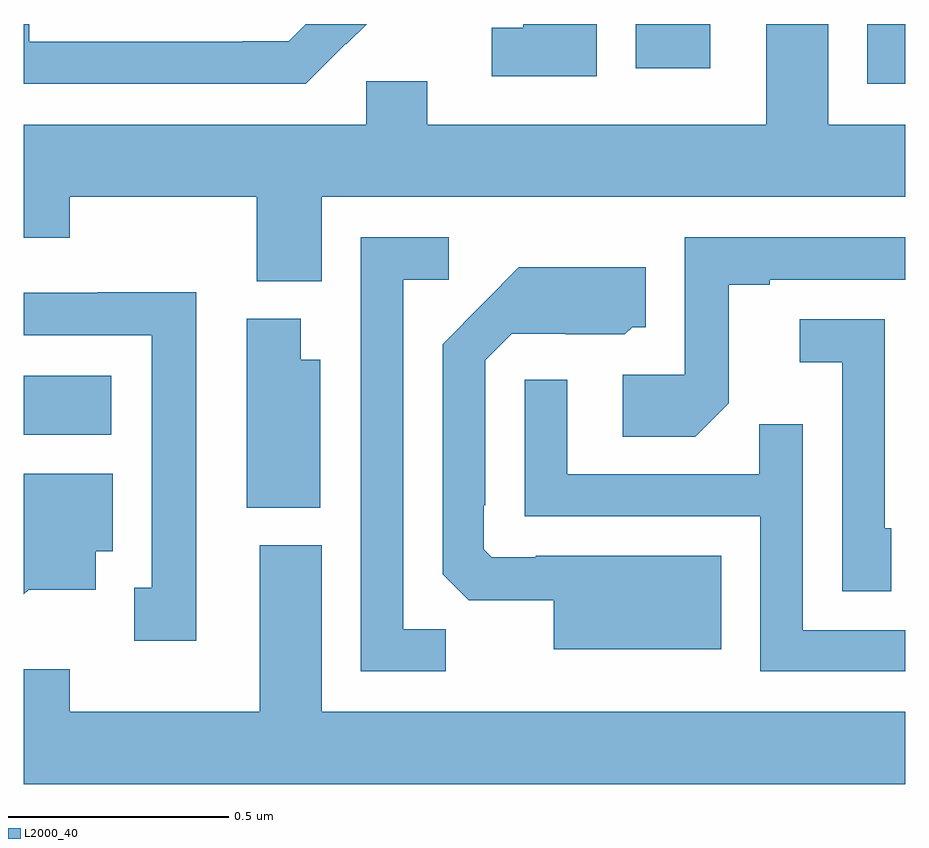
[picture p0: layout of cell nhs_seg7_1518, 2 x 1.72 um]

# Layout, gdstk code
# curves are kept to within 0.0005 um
import gdstk
lib = gdstk.Library(unit=1e-6, precision=1e-09)
def R(c, l, rs):  # rectangles x0, y0, x1, y1
    for r in rs: c.add(gdstk.rectangle(r[:2], r[2:], *l))
def P(c, l, *ps):  # polygons
    for p in ps: c.add(gdstk.Polygon(p, *l))
L2000_40 = (2000, 40)

nhs_seg7_1518 = lib.new_cell('nhs_seg7_1518')
R(nhs_seg7_1518, L2000_40, [(132,1008.068,132.199,1008.202), (133.914,1008.864,134,1009), (133.389,1008.9,133.558,1009)])
P(nhs_seg7_1518, L2000_40, [(133.3,1009),(133.133,1009),(133.133,1008.991),(133.062,1008.991),(133.062,1008.882),(133.3,1008.882)],
  [(132.731,1008.955),(132.732,1008.954),(132.778,1009),(132.64,1009),(132.601,1008.961),(132.497,1008.961),(132.497,1008.96),(132.013,1008.96),(132.013,1009),(132,1009),(132,1008.864),(132.64,1008.864)],
  [(132,1008.515),(132.105,1008.515),(132.105,1008.608),(132.529,1008.608),(132.529,1008.416),(132.676,1008.416),(132.676,1008.608),(134,1008.608),(134,1008.772),(133.825,1008.772),(133.825,1009),(133.685,1009),(133.685,1008.772),(132.916,1008.772),(132.916,1008.87),(132.777,1008.87),(132.777,1008.772),(132,1008.772)],
  [(132.957,1007.627),(132.861,1007.627),(132.861,1008.42),(132.964,1008.42),(132.964,1008.516),(132.765,1008.516),(132.765,1007.532),(132.957,1007.532)],
  [(133.599,1008.14),(133.599,1008.408),(133.693,1008.408),(133.693,1008.42),(134,1008.42),(134,1008.516),(133.5,1008.516),(133.5,1008.204),(133.359,1008.204),(133.359,1008.064),(133.523,1008.064)],
  [(133.582,1007.794),(133.162,1007.794),(133.162,1007.79),(133.062,1007.79),(133.044,1007.808),(133.044,1007.908),(133.047,1007.908),(133.047,1008.237),(133.107,1008.297),(133.23,1008.297),(133.23,1008.296),(133.364,1008.296),(133.38,1008.312),(133.411,1008.312),(133.411,1008.448),(133.123,1008.448),(132.951,1008.274),(132.951,1007.752),(133.01,1007.693),(133.202,1007.693),(133.202,1007.582),(133.582,1007.582)],
  [(132.391,1008.392),(132.168,1008.392),(132.168,1008.39),(132,1008.39),(132,1008.294),(132.29,1008.294),(132.29,1007.721),(132.251,1007.721),(132.251,1007.601),(132.391,1007.601)],
  [(132.673,1008.238),(132.628,1008.238),(132.628,1008.331),(132.506,1008.331),(132.506,1007.903),(132.673,1007.903)],
  [(133.968,1007.856),(133.953,1007.856),(133.953,1008.33),(133.761,1008.33),(133.761,1008.233),(133.857,1008.233),(133.857,1007.713),(133.968,1007.713)],
  [(134,1007.625),(133.767,1007.625),(133.767,1008.092),(133.669,1008.092),(133.669,1007.979),(133.233,1007.979),(133.233,1008.193),(133.137,1008.193),(133.137,1007.883),(133.671,1007.883),(133.671,1007.532),(134,1007.532)],
  [(132.011,1007.717),(132.163,1007.717),(132.163,1007.804),(132.202,1007.804),(132.202,1007.98),(132,1007.98),(132,1007.706)],
  [(134,1007.44),(132.676,1007.44),(132.676,1007.818),(132.536,1007.818),(132.536,1007.44),(132.105,1007.44),(132.105,1007.536),(132,1007.536),(132,1007.276),(134,1007.276)])

lib.write_gds('nhs_seg7_1518.gds')
